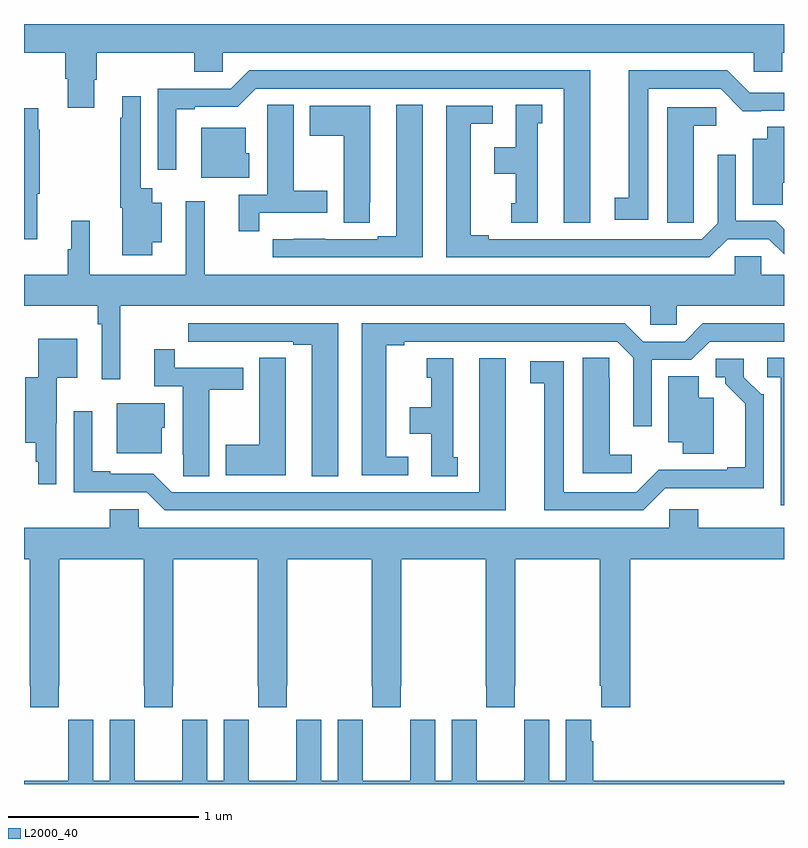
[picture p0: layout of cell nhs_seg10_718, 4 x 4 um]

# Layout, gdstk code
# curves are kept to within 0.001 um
import gdstk
lib = gdstk.Library(unit=1e-6, precision=1e-09)
def P(c, l, *ps):  # polygons
    for p in ps: c.add(gdstk.Polygon(p, *l))
L2000_40 = (2000, 40)

nhs_seg10_718 = lib.new_cell('nhs_seg10_718')
P(nhs_seg10_718, L2000_40, [(147.37,1268.206),(147.383,1268.206),(147.383,1268.348),(147.896,1268.348),(147.896,1268.25),(148.047,1268.25),(148.047,1268.348),(150.84,1268.348),(150.84,1268.25),(150.992,1268.25),(150.992,1268.348),(151,1268.348),(151,1268.5),(147,1268.5),(147,1268.348),(147.218,1268.348),(147.218,1268.211),(147.23,1268.211),(147.23,1268.058),(147.37,1268.058)],
  [(149.98,1268.256),(148.185,1268.256),(148.089,1268.16),(147.705,1268.16),(147.705,1267.734),(147.802,1267.734),(147.802,1268.052),(147.898,1268.052),(147.898,1268.064),(148.125,1268.064),(148.221,1268.16),(149.84,1268.16),(149.84,1267.455),(149.98,1267.455)],
  [(150.286,1268.16),(150.666,1268.16),(150.784,1268.042),(151,1268.043),(151,1268.139),(150.819,1268.139),(150.702,1268.256),(150.182,1268.256),(150.182,1267.586),(150.108,1267.586),(150.108,1267.47),(150.286,1267.47)],
  [(147.676,1267.352),(147.724,1267.352),(147.724,1267.558),(147.676,1267.558),(147.676,1267.636),(147.615,1267.636),(147.615,1268.119),(147.518,1268.119),(147.518,1268.006),(147.507,1268.006),(147.507,1267.532),(147.518,1267.532),(147.518,1267.284),(147.676,1267.284)],
  [(148.238,1267.506),(148.597,1267.506),(148.597,1267.623),(148.42,1267.623),(148.42,1268.075),(148.281,1268.075),(148.281,1267.964),(148.28,1267.964),(148.28,1267.602),(148.13,1267.602),(148.13,1267.41),(148.238,1267.41)],
  [(149.098,1268.075),(148.958,1268.075),(148.958,1267.383),(148.862,1267.383),(148.862,1267.368),(148.586,1267.368),(148.586,1267.369),(148.42,1267.369),(148.42,1267.368),(148.308,1267.368),(148.308,1267.272),(149.098,1267.272)],
  [(149.704,1267.977),(149.728,1267.977),(149.728,1268.075),(149.588,1268.075),(149.588,1267.852),(149.474,1267.852),(149.474,1267.712),(149.588,1267.712),(149.588,1267.557),(149.564,1267.557),(149.564,1267.455),(149.704,1267.455)],
  [(148.821,1267.561),(148.822,1267.561),(148.822,1268.071),(148.505,1268.071),(148.505,1267.912),(148.682,1267.912),(148.682,1267.453),(148.821,1267.453)],
  [(150.703,1267.368),(150.921,1267.368),(151,1267.289),(151,1267.421),(150.957,1267.464),(150.747,1267.464),(150.747,1267.813),(150.651,1267.813),(150.651,1267.452),(150.567,1267.368),(149.446,1267.368),(149.446,1267.388),(149.35,1267.388),(149.35,1267.974),(149.467,1267.974),(149.467,1268.07),(149.222,1268.07),(149.222,1267.272),(150.607,1267.272)],
  [(150.525,1267.561),(150.526,1267.561),(150.526,1267.964),(150.643,1267.964),(150.643,1268.061),(150.386,1268.061),(150.386,1267.453),(150.525,1267.453)],
  [(147.07,1267.607),(147.084,1267.607),(147.084,1267.943),(147.076,1267.943),(147.076,1268.056),(147,1268.056),(147,1267.368),(147.07,1267.368)],
  [(150.994,1267.664),(151,1267.664),(151,1267.958),(150.911,1267.958),(150.911,1267.897),(150.836,1267.897),(150.836,1267.549),(150.994,1267.549)],
  [(148.186,1267.821),(148.168,1267.821),(148.168,1267.954),(147.932,1267.954),(147.932,1267.691),(148.186,1267.691)],
  [(147.506,1267.016),(150.297,1267.016),(150.297,1266.918),(150.435,1266.918),(150.435,1267.016),(151,1267.016),(151,1267.18),(150.879,1267.18),(150.879,1267.278),(150.741,1267.278),(150.741,1267.18),(147.95,1267.18),(147.95,1267.567),(147.852,1267.567),(147.852,1267.18),(147.346,1267.18),(147.346,1267.465),(147.248,1267.465),(147.248,1267.314),(147.229,1267.314),(147.229,1267.18),(147,1267.18),(147,1267.016),(147.388,1267.016),(147.388,1266.92),(147.408,1266.92),(147.408,1266.63),(147.506,1266.63)],
  [(148.654,1266.924),(147.864,1266.924),(147.864,1266.828),(147.976,1266.828),(147.976,1266.827),(148.142,1266.827),(148.142,1266.828),(148.418,1266.828),(148.418,1266.813),(148.514,1266.813),(148.514,1266.121),(148.654,1266.121)],
  [(149.023,1266.222),(148.906,1266.222),(148.906,1266.808),(149.002,1266.808),(149.002,1266.828),(150.123,1266.828),(150.207,1266.744),(150.207,1266.384),(150.303,1266.384),(150.303,1266.732),(150.513,1266.732),(150.609,1266.828),(151,1266.828),(151,1266.924),(150.573,1266.924),(150.477,1266.828),(150.259,1266.828),(150.163,1266.924),(148.778,1266.924),(148.778,1266.126),(149.023,1266.126)],
  [(147.171,1266.4),(147.172,1266.4),(147.172,1266.638),(147.28,1266.638),(147.28,1266.844),(147.074,1266.844),(147.074,1266.64),(147.007,1266.64),(147.007,1266.296),(147.063,1266.296),(147.063,1266.195),(147.074,1266.195),(147.074,1266.078),(147.171,1266.078)],
  [(147.976,1266.574),(148.153,1266.574),(148.153,1266.69),(147.794,1266.69),(147.794,1266.787),(147.686,1266.787),(147.686,1266.594),(147.836,1266.594),(147.836,1266.232),(147.837,1266.232),(147.837,1266.121),(147.976,1266.121)],
  [(148.378,1266.635),(148.377,1266.635),(148.377,1266.743),(148.238,1266.743),(148.238,1266.285),(148.061,1266.285),(148.061,1266.125),(148.378,1266.125)],
  [(151,1266.743),(150.912,1266.743),(150.912,1266.642),(150.984,1266.642),(150.984,1265.967),(151,1265.967)],
  [(150.199,1266.232),(150.082,1266.232),(150.082,1266.635),(150.081,1266.635),(150.081,1266.743),(149.942,1266.743),(149.942,1266.135),(150.199,1266.135)],
  [(149.536,1266.742),(149.396,1266.742),(149.396,1266.036),(147.777,1266.036),(147.681,1266.132),(147.454,1266.132),(147.454,1266.145),(147.358,1266.145),(147.358,1266.463),(147.261,1266.463),(147.261,1266.036),(147.645,1266.036),(147.741,1265.94),(149.536,1265.94)],
  [(149.284,1266.219),(149.26,1266.219),(149.26,1266.742),(149.12,1266.742),(149.12,1266.639),(149.144,1266.639),(149.144,1266.484),(149.03,1266.484),(149.03,1266.344),(149.144,1266.344),(149.144,1266.121),(149.284,1266.121)],
  [(150.375,1266.057),(150.894,1266.056),(150.894,1266.552),(150.879,1266.552),(150.789,1266.642),(150.789,1266.738),(150.642,1266.738),(150.642,1266.642),(150.692,1266.642),(150.692,1266.607),(150.797,1266.502),(150.797,1266.166),(150.701,1266.166),(150.701,1266.153),(150.34,1266.154),(150.222,1266.036),(149.842,1266.036),(149.842,1266.726),(149.664,1266.726),(149.664,1266.61),(149.738,1266.61),(149.738,1265.94),(150.258,1265.94)],
  [(150.631,1266.532),(150.55,1266.532),(150.55,1266.647),(150.392,1266.647),(150.392,1266.299),(150.467,1266.299),(150.467,1266.238),(150.631,1266.238)],
  [(147.724,1266.375),(147.742,1266.375),(147.742,1266.505),(147.488,1266.505),(147.488,1266.242),(147.724,1266.242)],
  [(147.603,1265.946),(147.452,1265.946),(147.452,1265.848),(147,1265.848),(147,1265.684),(147.031,1265.684),(147.031,1265.017),(147.033,1265.017),(147.033,1264.905),(147.183,1264.905),(147.183,1265.017),(147.186,1265.017),(147.186,1265.684),(147.631,1265.684),(147.631,1265.017),(147.633,1265.017),(147.633,1264.905),(147.783,1264.905),(147.783,1265.017),(147.786,1265.017),(147.786,1265.684),(148.231,1265.684),(148.231,1265.017),(148.233,1265.017),(148.233,1264.905),(148.383,1264.905),(148.383,1265.017),(148.386,1265.017),(148.386,1265.684),(148.831,1265.684),(148.831,1265.017),(148.833,1265.017),(148.833,1264.905),(148.983,1264.905),(148.983,1265.017),(148.986,1265.017),(148.986,1265.684),(149.431,1265.684),(149.431,1265.017),(149.433,1265.017),(149.433,1264.905),(149.583,1264.905),(149.583,1265.017),(149.586,1265.017),(149.586,1265.684),(150.031,1265.684),(150.031,1265.017),(150.037,1265.017),(150.037,1264.905),(150.191,1264.905),(150.191,1265.684),(151,1265.684),(151,1265.848),(150.548,1265.848),(150.548,1265.946),(150.396,1265.946),(150.396,1265.848),(147.603,1265.848)],
  [(147.834,1264.837),(147.834,1264.724),(147.833,1264.724),(147.833,1264.516),(147.583,1264.516),(147.583,1264.724),(147.582,1264.724),(147.582,1264.837),(147.452,1264.837),(147.452,1264.516),(147.364,1264.516),(147.364,1264.837),(147.234,1264.837),(147.234,1264.724),(147.233,1264.724),(147.233,1264.516),(147,1264.516),(147,1264.5),(151,1264.5),(151,1264.516),(149.996,1264.516),(149.996,1264.724),(149.986,1264.724),(149.986,1264.837),(149.852,1264.837),(149.852,1264.516),(149.764,1264.516),(149.764,1264.837),(149.634,1264.837),(149.634,1264.724),(149.633,1264.724),(149.633,1264.516),(149.383,1264.516),(149.383,1264.724),(149.382,1264.724),(149.382,1264.837),(149.252,1264.837),(149.252,1264.516),(149.164,1264.516),(149.164,1264.837),(149.034,1264.837),(149.034,1264.724),(149.033,1264.724),(149.033,1264.516),(148.783,1264.516),(148.783,1264.724),(148.782,1264.724),(148.782,1264.837),(148.652,1264.837),(148.652,1264.516),(148.564,1264.516),(148.564,1264.837),(148.434,1264.837),(148.434,1264.724),(148.433,1264.724),(148.433,1264.516),(148.183,1264.516),(148.183,1264.724),(148.182,1264.724),(148.182,1264.837),(148.052,1264.837),(148.052,1264.516),(147.964,1264.516),(147.964,1264.837)])

lib.write_gds('nhs_seg10_718.gds')
